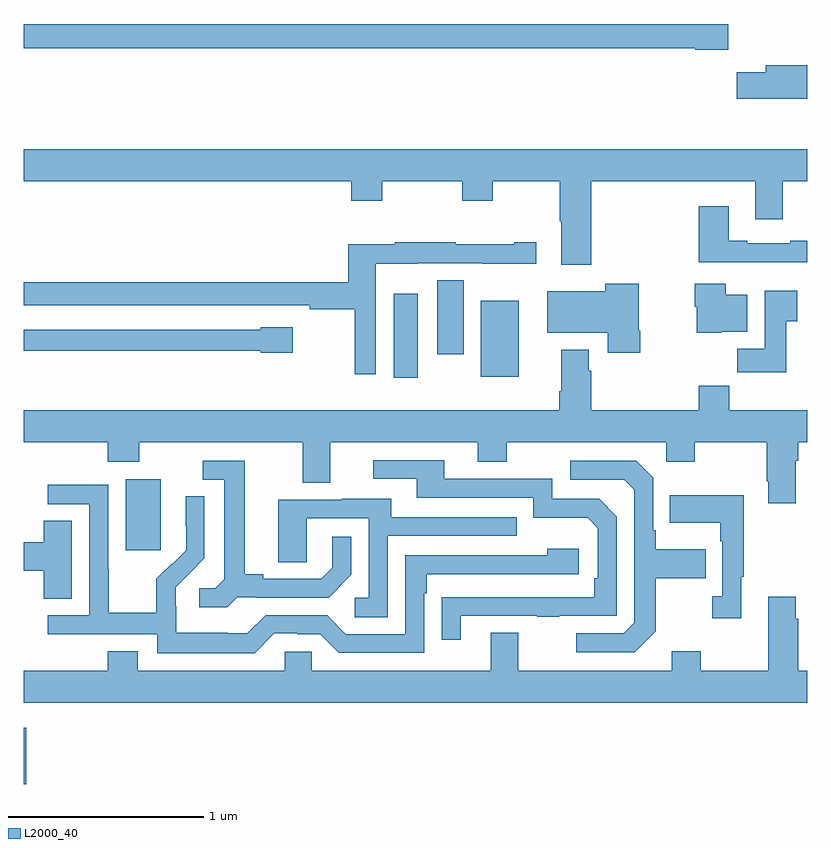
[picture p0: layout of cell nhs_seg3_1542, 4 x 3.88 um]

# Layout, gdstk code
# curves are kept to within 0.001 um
import gdstk
lib = gdstk.Library(unit=1e-6, precision=1e-09)
def R(c, l, rs):  # rectangles x0, y0, x1, y1
    for r in rs: c.add(gdstk.rectangle(r[:2], r[2:], *l))
def P(c, l, *ps):  # polygons
    for p in ps: c.add(gdstk.Polygon(p, *l))
L2000_40 = (2000, 40)

nhs_seg3_1542 = lib.new_cell('nhs_seg3_1542')
R(nhs_seg3_1542, L2000_40, [(191,684.518,191.012,684.805), (191.519,685.713,191.698,686.074), (192.89,686.592,193.012,687.022), (193.334,686.597,193.528,686.986), (193.112,686.712,193.246,687.092)])
P(nhs_seg3_1542, L2000_40, [(194.597,688.4),(191,688.4),(191,688.276),(194.43,688.276),(194.43,688.268),(194.597,688.268)],
  [(195,688.19),(194.789,688.19),(194.789,688.154),(194.64,688.154),(194.64,688.019),(195,688.019)],
  [(193.898,687.596),(194.735,687.596),(194.735,687.402),(194.875,687.402),(194.875,687.596),(195,687.596),(195,687.76),(191,687.76),(191,687.596),(192.671,687.596),(192.671,687.497),(192.831,687.497),(192.831,687.596),(193.24,687.596),(193.24,687.497),(193.395,687.497),(193.395,687.596),(193.738,687.596),(193.738,687.392),(193.745,687.392),(193.745,687.171),(193.898,687.171)],
  [(195,687.292),(194.915,687.292),(194.915,687.279),(194.695,687.279),(194.695,687.292),(194.599,687.292),(194.599,687.469),(194.447,687.469),(194.447,687.182),(195,687.182)],
  [(192.798,687.176),(193.008,687.176),(193.008,687.177),(193.342,687.177),(193.342,687.176),(193.618,687.176),(193.618,687.286),(193.505,687.286),(193.505,687.276),(193.205,687.276),(193.205,687.286),(192.895,687.286),(192.895,687.276),(192.656,687.276),(192.656,687.08),(191,687.08),(191,686.964),(192.46,686.964),(192.46,686.944),(192.69,686.944),(192.69,686.61),(192.798,686.61)],
  [(194.148,686.833),(194.14,686.833),(194.14,687.073),(193.97,687.073),(193.97,687.034),(193.673,687.034),(193.673,686.822),(193.982,686.822),(193.982,686.721),(194.148,686.721)],
  [(194.562,686.828),(194.695,686.828),(194.695,687.016),(194.584,687.016),(194.584,687.073),(194.426,687.073),(194.426,686.955),(194.437,686.955),(194.437,686.822),(194.562,686.822)],
  [(194.893,686.881),(194.95,686.881),(194.95,687.037),(194.783,687.037),(194.783,686.74),(194.644,686.74),(194.644,686.622),(194.893,686.622)],
  [(192.373,686.851),(192.21,686.851),(192.21,686.838),(191,686.838),(191,686.73),(192.21,686.73),(192.21,686.722),(192.373,686.722)],
  [(194.941,686.168),(194.954,686.168),(194.954,686.264),(195,686.264),(195,686.428),(194.603,686.428),(194.603,686.552),(194.447,686.552),(194.447,686.428),(193.898,686.428),(193.898,686.63),(193.885,686.63),(193.885,686.737),(193.745,686.737),(193.745,686.524),(193.733,686.524),(193.733,686.428),(191,686.428),(191,686.264),(191.429,686.264),(191.429,686.165),(191.589,686.165),(191.589,686.264),(192.425,686.264),(192.425,686.056),(192.565,686.056),(192.565,686.264),(193.319,686.264),(193.319,686.165),(193.467,686.165),(193.467,686.264),(194.28,686.264),(194.28,686.165),(194.427,686.165),(194.427,686.264),(194.794,686.264),(194.794,686.065),(194.801,686.065),(194.801,685.953),(194.941,685.953)],
  [(193.231,685.377),(193.621,685.377),(193.621,685.372),(193.733,685.372),(193.733,685.377),(194.028,685.377),(194.028,685.884),(193.938,685.974),(193.698,685.974),(193.698,686.076),(193.147,686.076),(193.147,686.172),(192.783,686.172),(192.783,686.076),(193.007,686.076),(193.007,685.98),(193.602,685.98),(193.602,685.877),(193.879,685.877),(193.932,685.824),(193.932,685.57),(193.912,685.57),(193.912,685.473),(193.135,685.472),(193.135,685.254),(193.231,685.254)],
  [(194.227,685.297),(194.227,685.57),(194.483,685.57),(194.483,685.717),(194.227,685.717),(194.227,685.813),(194.214,685.813),(194.214,686.082),(194.127,686.169),(193.791,686.169),(193.791,686.073),(194.067,686.073),(194.118,686.022),(194.118,685.341),(194.064,685.287),(193.821,685.287),(193.821,685.191),(194.121,685.191)],
  [(192.09,685.473),(192.184,685.473),(192.184,685.47),(192.556,685.47),(192.672,685.586),(192.672,685.78),(192.575,685.78),(192.575,685.623),(192.518,685.566),(192.223,685.566),(192.223,685.589),(192.127,685.589),(192.127,686.169),(191.913,686.169),(191.913,686.073),(192.023,686.073),(192.023,685.565),(191.976,685.518),(191.895,685.518),(191.895,685.421),(192.038,685.421)],
  [(192.279,685.287),(192.395,685.287),(192.395,685.284),(192.513,685.284),(192.609,685.188),(193.044,685.188),(193.044,685.493),(193.057,685.493),(193.057,685.59),(193.834,685.59),(193.834,685.72),(193.673,685.72),(193.673,685.686),(192.948,685.686),(192.948,685.284),(192.645,685.284),(192.549,685.38),(192.234,685.38),(192.141,685.287),(192.041,685.287),(192.041,685.291),(191.778,685.291),(191.778,685.425),(191.776,685.425),(191.776,685.522),(191.922,685.67),(191.922,685.988),(191.826,685.988),(191.826,685.834),(191.828,685.834),(191.828,685.712),(191.757,685.641),(191.754,685.644),(191.677,685.567),(191.677,685.393),(191.433,685.393),(191.433,685.616),(191.43,685.616),(191.43,686.046),(191.121,686.046),(191.121,685.947),(191.334,685.947),(191.334,685.38),(191.121,685.38),(191.121,685.284),(191.682,685.284),(191.682,685.187),(192.179,685.187)],
  [(194.665,685.577),(194.677,685.577),(194.677,685.993),(194.299,685.993),(194.299,685.853),(194.556,685.853),(194.556,685.757),(194.568,685.757),(194.568,685.478),(194.517,685.478),(194.517,685.365),(194.665,685.365)],
  [(192.858,685.785),(193.517,685.785),(193.517,685.881),(192.877,685.881),(192.877,685.975),(192.623,685.975),(192.623,685.971),(192.299,685.971),(192.299,685.651),(192.444,685.651),(192.444,685.875),(192.762,685.875),(192.762,685.47),(192.69,685.47),(192.69,685.369),(192.858,685.369)],
  [(191.245,685.862),(191.102,685.862),(191.102,685.754),(191,685.754),(191,685.607),(191.102,685.607),(191.102,685.465),(191.245,685.465)],
  [(195,685.096),(194.954,685.096),(194.954,685.361),(194.941,685.361),(194.941,685.474),(194.801,685.474),(194.801,685.096),(194.457,685.096),(194.457,685.195),(194.309,685.195),(194.309,685.096),(193.525,685.096),(193.525,685.291),(193.385,685.291),(193.385,685.096),(192.471,685.096),(192.471,685.194),(192.333,685.194),(192.333,685.096),(191.581,685.096),(191.581,685.195),(191.429,685.195),(191.429,685.096),(191,685.096),(191,684.932),(195,684.932)])

lib.write_gds('nhs_seg3_1542.gds')
